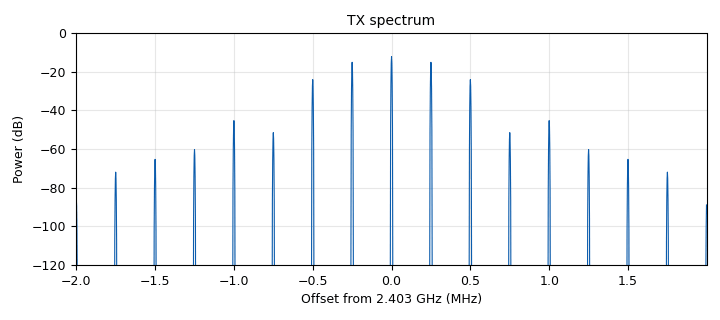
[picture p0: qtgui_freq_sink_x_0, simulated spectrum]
options:
  parameters:
    author: GNU Radio
    comment: Nordic radio_test compatible 1M packet stream, pattern 11001100
    description: Transmit repeated radio-test packets at 2403 MHz with the B205mini.
    generate_options: qt_gui
    id: b205mini_radio_test_tx
    output_language: python
    title: B205mini Radio Test Packet TX
  states: {}

blocks:
- name: samp_rate
  id: variable
  parameters:
    comment: 4 samples per 1 Msymbol/s BLE 1M waveform.
    value: 4e6
  states: {}
- name: center_freq
  id: variable
  parameters:
    comment: 2400 MHz + radio-test channel 3.
    value: 2.403e9
  states: {}
- name: packet_bits
  id: blocks_vector_source_x
  parameters:
    comment: 8-bit preamble, five-byte 0xCC address, length 254, 254 bytes of 0xCC; repeats continuously.
    repeat: 'True'
    type: byte
    vector: ([0, 1, 0, 1, 0, 1, 0, 1] + [0, 0, 1, 1, 0, 0, 1, 1] * 5 + [1, 1, 1, 1, 1, 1, 1, 0] + [1, 1, 0, 0, 1, 1, 0, 0] * 254)
  states: {}
- name: digital_gfsk_mod_0
  id: digital_gfsk_mod
  parameters:
    bt: '0.5'
    comment: BLE 1M GFSK, h=0.5, 4 samples/symbol.
    do_unpack: 'False'
    samples_per_symbol: '4'
    sensitivity: '0.39269908169872414'
  states: {}
- name: uhd_usrp_sink_0
  id: uhd_usrp_sink
  parameters:
    ant0: '"TX/RX"'
    bw0: samp_rate
    center_freq0: center_freq
    clock_rate: '0.0'
    comment: B205mini transmit output.
    dev_args: '""'
    gain0: '0'
    samp_rate: samp_rate
    stream_args: '""'
    sync: sync
    type: fc32
  states: {}
- name: qtgui_freq_sink_x_0
  id: qtgui_freq_sink_x
  parameters:
    average: '0.1'
    bw: samp_rate
    comment: Baseband transmit spectrum; RF center is 2403 MHz.
    ctrlpanel: 'True'
    fc: center_freq
    fftsize: '2048'
    grid: 'True'
    label: Power
    legend: 'False'
    name: '"TX spectrum"'
    type: complex
    ymax: '0'
    ymin: '-120'
  states: {}

connections:
- [packet_bits, '0', digital_gfsk_mod_0, '0']
- [digital_gfsk_mod_0, '0', uhd_usrp_sink_0, '0']
- [digital_gfsk_mod_0, '0', qtgui_freq_sink_x_0, '0']

metadata:
  file_format: 1
